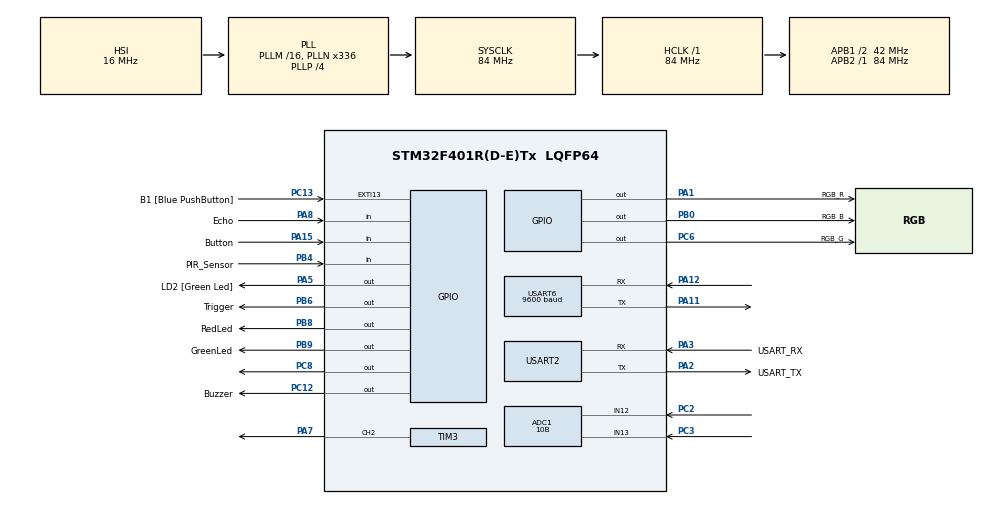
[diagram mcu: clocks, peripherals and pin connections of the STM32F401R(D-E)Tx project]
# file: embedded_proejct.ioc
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ADC1.Channel-0\#ChannelRegularConversion=ADC_CHANNEL_12
ADC1.Channel-1\#ChannelRegularConversion=ADC_CHANNEL_13
ADC1.ContinuousConvMode=DISABLE
ADC1.DMAContinuousRequests=DISABLE
ADC1.NbrOfConversion=2
ADC1.NbrOfConversionFlag=1
ADC1.Rank-0\#ChannelRegularConversion=1
ADC1.Rank-1\#ChannelRegularConversion=2
ADC1.Resolution=ADC_RESOLUTION_10B
ADC1.SamplingTime-0\#ChannelRegularConversion=ADC_SAMPLETIME_28CYCLES
ADC1.SamplingTime-1\#ChannelRegularConversion=ADC_SAMPLETIME_28CYCLES
ADC1.ScanConvMode=ENABLE
ADC1.master=1
Dma.ADC1.0.Direction=DMA_PERIPH_TO_MEMORY
Dma.ADC1.0.FIFOMode=DMA_FIFOMODE_DISABLE
Dma.ADC1.0.Instance=DMA2_Stream0
Dma.ADC1.0.MemDataAlignment=DMA_MDATAALIGN_WORD
Dma.ADC1.0.MemInc=DMA_MINC_ENABLE
Dma.ADC1.0.Mode=DMA_CIRCULAR
Dma.ADC1.0.PeriphDataAlignment=DMA_PDATAALIGN_WORD
Dma.ADC1.0.PeriphInc=DMA_PINC_DISABLE
Dma.ADC1.0.Priority=DMA_PRIORITY_LOW
Dma.Request0=ADC1
Mcu.Family=STM32F4
Mcu.Name=STM32F401R(D-E)Tx
Mcu.Package=LQFP64
NVIC.DMA2_Stream0_IRQn=true\:0\:0\:false\:false\:true\:false\:true\:true
NVIC.PriorityGroup=NVIC_PRIORITYGROUP_0
NVIC.USART2_IRQn=true\:0\:0\:false\:false\:true\:true\:true\:true
NVIC.USART6_IRQn=true\:0\:0\:false\:false\:true\:true\:true\:true
PA1.GPIO_Label=RGB_R
PA1.Signal=GPIO_Output
PA11.Mode=Asynchronous
PA11.Signal=USART6_TX
PA12.Mode=Asynchronous
PA12.Signal=USART6_RX
PA13.GPIO_Label=TMS
PA13.Mode=Serial_Wire
PA13.Signal=SYS_JTMS-SWDIO
PA14.GPIO_Label=TCK
PA14.Mode=Serial_Wire
PA14.Signal=SYS_JTCK-SWCLK
PA15.GPIO_Label=Button
PA15.GPIO_PuPd=GPIO_PULLUP
PA15.Signal=GPIO_Input
PA2.GPIO_Label=USART_TX
PA2.GPIO_Mode=GPIO_MODE_AF_PP
PA2.GPIO_PuPd=GPIO_NOPULL
PA2.GPIO_Speed=GPIO_SPEED_FREQ_LOW
PA2.Mode=Asynchronous
PA2.Signal=USART2_TX
PA3.GPIO_Label=USART_RX
PA3.GPIO_Mode=GPIO_MODE_AF_PP
PA3.GPIO_PuPd=GPIO_NOPULL
PA3.GPIO_Speed=GPIO_SPEED_FREQ_LOW
PA3.Mode=Asynchronous
PA3.Signal=USART2_RX
PA5.GPIO_Label=LD2 [Green Led]
PA5.GPIO_Mode=GPIO_MODE_OUTPUT_PP
PA5.GPIO_PuPd=GPIO_NOPULL
PA5.GPIO_Speed=GPIO_SPEED_FREQ_LOW
PA5.Signal=GPIO_Output
PA7.Signal=S_TIM3_CH2
PA8.GPIO_Label=Echo
PA8.Signal=GPIO_Input
PB0.GPIO_Label=RGB_B
PB0.Signal=GPIO_Output
PB3.GPIO_Label=SWO
PB3.Signal=SYS_JTDO-SWO
PB4.GPIO_Label=PIR_Sensor
PB4.Signal=GPIO_Input
PB6.GPIO_Label=Trigger
PB6.Signal=GPIO_Output
PB8.GPIO_Label=RedLed
PB8.Signal=GPIO_Output
PB9.GPIO_Label=GreenLed
PB9.Signal=GPIO_Output
PC12.GPIO_Label=Buzzer
PC12.Signal=GPIO_Output
PC13-ANTI_TAMP.GPIO_Label=B1 [Blue PushButton]
PC13-ANTI_TAMP.GPIO_ModeDefaultEXTI=GPIO_MODE_IT_FALLING
PC13-ANTI_TAMP.GPIO_PuPd=GPIO_NOPULL
PC13-ANTI_TAMP.Signal=GPXTI13
PC14-OSC32_IN.Mode=LSE-External-Oscillator
PC14-OSC32_IN.Signal=RCC_OSC32_IN
PC15-OSC32_OUT.Mode=LSE-External-Oscillator
PC15-OSC32_OUT.Signal=RCC_OSC32_OUT
PC2.Signal=ADCx_IN12
PC3.Signal=ADCx_IN13
PC6.GPIO_Label=RGB_G
PC6.Signal=GPIO_Output
PC8.Signal=GPIO_Output
PH0\ -\ OSC_IN.Mode=HSE-External-Clock-Source
PH0\ -\ OSC_IN.Signal=RCC_OSC_IN
PH1\ -\ OSC_OUT.Mode=HSE-External-Clock-Source
PH1\ -\ OSC_OUT.Signal=RCC_OSC_OUT
ProjectManager.HeapSize=0x200
ProjectManager.StackSize=0x400
ProjectManager.TargetToolchain=STM32CubeIDE
RCC.48MHZClocksFreq_Value=48000000
RCC.AHBFreq_Value=84000000
RCC.APB1CLKDivider=RCC_HCLK_DIV2
RCC.APB1Freq_Value=42000000
RCC.APB1TimFreq_Value=84000000
RCC.APB2Freq_Value=84000000
RCC.APB2TimFreq_Value=84000000
RCC.CortexFreq_Value=84000000
RCC.HCLKFreq_Value=84000000
RCC.HSE_VALUE=8000000
RCC.HSI_VALUE=16000000
RCC.PLLN=336
RCC.PLLP=RCC_PLLP_DIV4
RCC.PLLQ=7
RCC.SYSCLKFreq_VALUE=84000000
RCC.SYSCLKSource=RCC_SYSCLKSOURCE_PLLCLK
RCC.VCOOutputFreq_Value=336000000
SH.ADCx_IN12.0=ADC1_IN12,IN12
SH.ADCx_IN13.0=ADC1_IN13,IN13
SH.S_TIM3_CH2.0=TIM3_CH2,PWM Generation2 CH2
TIM1.Prescaler=71
TIM3.Channel-PWM\ Generation2\ CH2=TIM_CHANNEL_2
TIM3.Period=1000
TIM3.Prescaler=840
TIM3.Pulse-PWM\ Generation2\ CH2=200
USART2.VirtualMode=VM_ASYNC
USART6.BaudRate=9600
USART6.VirtualMode=VM_ASYNC
VP_TIM1_VS_ClockSourceINT.Mode=Internal
board=NUCLEO-F401RE

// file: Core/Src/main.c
/* USER CODE BEGIN Header */
/**
  ******************************************************************************
  * @file           : main.c
  * @brief          : Main program body
  ******************************************************************************
  * @attention
  *
  * Copyright (c) 2023 STMicroelectronics.
  * All rights reserved.
  *
  * This software is licensed under terms that can be found in the LICENSE file
  * in the root directory of this software component.
  * If no LICENSE file comes with this software, it is provided AS-IS.
  *
  ******************************************************************************
  */
/* USER CODE END Header */
#include "main.h"

ADC_HandleTypeDef hadc1;
DMA_HandleTypeDef hdma_adc1;

TIM_HandleTypeDef htim1;
TIM_HandleTypeDef htim3;

UART_HandleTypeDef huart2;
UART_HandleTypeDef huart6;

void SystemClock_Config(void);
static void MX_GPIO_Init(void);
static void MX_DMA_Init(void);
static void MX_USART2_UART_Init(void);
static void MX_ADC1_Init(void);
static void MX_USART6_UART_Init(void);
static void MX_TIM1_Init(void);
static void MX_TIM3_Init(void);

/* USER CODE BEGIN 0 */

/* uart variable */
#ifdef __GNUC__
#define PUTCHAR_PROTOTYPE int __io_putchar(int ch)
#else
#define PUTCHAR_PROTOTYPE int fputc(int ch, FILE *f)
#endif
PUTCHAR_PROTOTYPE
{
	HAL_UART_Transmit(&huart2, (uint8_t *)&ch, 1, 0xFFFF);
	return ch;
}

/* ultra sonic variable */
#define TRIG_PIN GPIO_PIN_6
#define TRIG_PORT GPIOB
#define ECHO_PIN GPIO_PIN_8
#define ECHO_PORT GPIOA

uint32_t pMillis;
uint32_t Value1 = 0;
uint32_t Value2 = 0;
uint16_t Distance  = 0;
int cnt = 0;

/* pir sensor variable variable */
int Pir_value = 0;

/* button variable */
int button_state = 0;
int state = 0;
int last_button_state = 1;

/* bluetooth and serial */
uint8_t rx6_data;
uint8_t rx2_data;

/* joystick */
uint32_t joy_value[2];

/* USER CODE END 0 */

void HAL_UART_RxCpltCallback(UART_HandleTypeDef *huart) {

	if(rx6_data == 111) {
		HAL_GPIO_WritePin(GPIOC, GPIO_PIN_8, 1);
		htim3.Instance->CCR2 = 200;
		for(int i=0; i<10000000; i++){
		}
	}
	else if(rx6_data == 99) {
		HAL_GPIO_WritePin(GPIOC, GPIO_PIN_8, 0);
		htim3.Instance->CCR2 = 200;
		for(int i=0; i<10000000; i++){
		}
	}
	HAL_UART_Receive_IT(&huart6, &rx6_data, 1);

}

int main(void)
{

  /* MCU Configuration--------------------------------------------------------*/

  /* Reset of all peripherals, Initializes the Flash interface and the Systick. */
  HAL_Init();

  /* Configure the system clock */
  SystemClock_Config();

  /* Initialize all configured peripherals */
  MX_GPIO_Init();
  MX_DMA_Init();
  MX_USART2_UART_Init();
  MX_ADC1_Init();
  MX_USART6_UART_Init();
  MX_TIM1_Init();
  MX_TIM3_Init();
  /* USER CODE BEGIN 2 */

  HAL_TIM_Base_Start(&htim1);
  HAL_GPIO_WritePin(TRIG_PORT, TRIG_PIN, GPIO_PIN_RESET);
  HAL_UART_Receive_IT(&huart6, &rx6_data,1);
  HAL_UART_Receive_IT(&huart2, &rx2_data,1);
  HAL_TIM_PWM_Start(&htim3, TIM_CHANNEL_2);
  htim3.Instance->CCR2 = 0;
  /* USER CODE END 2 */

  /* Infinite loop */
  /* USER CODE BEGIN WHILE */
  while (1)
  {
	HAL_ADC_Start(&hadc1);
	HAL_ADC_PollForConversion(&hadc1, 10);
	joy_value[0] = HAL_ADC_GetValue(&hadc1);
	HAL_ADC_Start(&hadc1);
	HAL_ADC_PollForConversion(&hadc1, 10);
	joy_value[1] = HAL_ADC_GetValue(&hadc1);
	HAL_ADC_Stop(&hadc1);

	/* joy stick */

	if(joy_value[1] < 10) {
		if(state%2 == 0) {
			HAL_GPIO_WritePin(GPIOC, GPIO_PIN_8, 1);
			htim3.Instance->CCR2 = 200;
		}
	}

	if(joy_value[1] > 900) {
		if(state%2 == 0) {
			HAL_GPIO_WritePin(GPIOC, GPIO_PIN_8, 0);
			htim3.Instance->CCR2 = 200;
		}
	}

	if (joy_value[0]>450 && joy_value[0]<550 && joy_value[1]>400 && joy_value[1]<600){
		htim3.Instance->CCR2 = 0;
	}

	/* ultra sonic to buzzer */
	HAL_GPIO_WritePin(TRIG_PORT, TRIG_PIN, GPIO_PIN_SET);  // TRIG_PORT와 TRIG_PIN에 해당하는 GPIO 핀을 활성화하여 출력 모드로 설정하고, 해당 핀을 HIGH 레벨로 설정
	__HAL_TIM_SET_COUNTER(&htim1, 0);  // 타이머 1의 카운터 값을 0으로 설정
	while (__HAL_TIM_GET_COUNTER (&htim1) < 10);
	HAL_GPIO_WritePin(TRIG_PORT, TRIG_PIN, GPIO_PIN_RESET);
	pMillis = HAL_GetTick();
	while (!(HAL_GPIO_ReadPin (ECHO_PORT, ECHO_PIN)) && pMillis + 10 >  HAL_GetTick());
	Value1 = __HAL_TIM_GET_COUNTER (&htim1);
	pMillis = HAL_GetTick();
	while ((HAL_GPIO_ReadPin (ECHO_PORT, ECHO_PIN)) && pMillis + 50 > HAL_GetTick());
	Value2 = __HAL_TIM_GET_COUNTER (&htim1);
	Distance = (Value2-Value1)* 0.034/2;
	HAL_GPIO_WritePin(GPIOA, GPIO_PIN_1, RESET);
	HAL_GPIO_WritePin(GPIOC, GPIO_PIN_6, SET);
	HAL_GPIO_WritePin(GPIOB, GPIO_PIN_0, RESET);
	if(state%2 == 1){
		HAL_GPIO_WritePin(GPIOA, GPIO_PIN_1, RESET);
		HAL_GPIO_WritePin(GPIOC, GPIO_PIN_6, RESET);
		HAL_GPIO_WritePin(GPIOB, GPIO_PIN_0, RESET);
	}
	printf("%d\r\n", Distance);
	if (Distance < 10) //거리가 10cm이하일 떄
	{

		HAL_GPIO_WritePin(GPIOA, GPIO_PIN_1, SET);
		HAL_GPIO_WritePin(GPIOC, GPIO_PIN_6, RESET);
		if(state%2 == 1)
		{
			HAL_GPIO_WritePin(GPIOA, GPIO_PIN_1, RESET);
			HAL_GPIO_WritePin(GPIOC, GPIO_PIN_6, RESET);
		}
		while(cnt < 200) //약 1초동안 부저 울림
		{
			cnt++;
			if(state%2 == 0) {
				HAL_GPIO_WritePin(GPIOC, GPIO_PIN_12, SET);
				HAL_Delay(1);
				HAL_GPIO_WritePin(GPIOC, GPIO_PIN_12, RESET);
				HAL_Delay(1);
			}
		}
	}
	cnt = 0;

	/* pir sensor to led */
	Pir_value = HAL_GPIO_ReadPin(GPIOB, GPIO_PIN_4);

	if(Pir_value == 1) {
		HAL_GPIO_WritePin(GPIOB, GPIO_PIN_8, SET);
		HAL_GPIO_WritePin(GPIOB, GPIO_PIN_9, RESET);
		if(state%2 == 1) {
			HAL_GPIO_WritePin(GPIOB, GPIO_PIN_8, RESET);
			HAL_GPIO_WritePin(GPIOB, GPIO_PIN_9, RESET);
		}
	}
	else {
		HAL_GPIO_WritePin(GPIOB, GPIO_PIN_8, RESET);
		HAL_GPIO_WritePin(GPIOB, GPIO_PIN_9, SET);
		if(state%2 == 1) {
			HAL_GPIO_WritePin(GPIOB, GPIO_PIN_8, RESET);
			HAL_GPIO_WritePin(GPIOB, GPIO_PIN_9, RESET);
		}
	}

	/* button to control system */
	button_state = HAL_GPIO_ReadPin(GPIOA, GPIO_PIN_15);
	if(last_button_state == 1 && button_state == 0) {
		state++;
	}
	last_button_state = button_state;

  }
  /* USER CODE END 3 */
}

void SystemClock_Config(void)
{
  RCC_OscInitTypeDef RCC_OscInitStruct = {0};
  RCC_ClkInitTypeDef RCC_ClkInitStruct = {0};

  /** Configure the main internal regulator output voltage
  */
  __HAL_RCC_PWR_CLK_ENABLE();
  __HAL_PWR_VOLTAGESCALING_CONFIG(PWR_REGULATOR_VOLTAGE_SCALE2);

  /** Initializes the RCC Oscillators according to the specified parameters
  * in the RCC_OscInitTypeDef structure.
  */
  RCC_OscInitStruct.OscillatorType = RCC_OSCILLATORTYPE_HSI;
  RCC_OscInitStruct.HSIState = RCC_HSI_ON;
  RCC_OscInitStruct.HSICalibrationValue = RCC_HSICALIBRATION_DEFAULT;
  RCC_OscInitStruct.PLL.PLLState = RCC_PLL_ON;
  RCC_OscInitStruct.PLL.PLLSource = RCC_PLLSOURCE_HSI;
  RCC_OscInitStruct.PLL.PLLM = 16;
  RCC_OscInitStruct.PLL.PLLN = 336;
  RCC_OscInitStruct.PLL.PLLP = RCC_PLLP_DIV4;
  RCC_OscInitStruct.PLL.PLLQ = 7;
  if (HAL_RCC_OscConfig(&RCC_OscInitStruct) != HAL_OK)
  {
    Error_Handler();
  }

  /** Initializes the CPU, AHB and APB buses clocks
  */
  RCC_ClkInitStruct.ClockType = RCC_CLOCKTYPE_HCLK|RCC_CLOCKTYPE_SYSCLK
                              |RCC_CLOCKTYPE_PCLK1|RCC_CLOCKTYPE_PCLK2;
  RCC_ClkInitStruct.SYSCLKSource = RCC_SYSCLKSOURCE_PLLCLK;
  RCC_ClkInitStruct.AHBCLKDivider = RCC_SYSCLK_DIV1;
  RCC_ClkInitStruct.APB1CLKDivider = RCC_HCLK_DIV2;
  RCC_ClkInitStruct.APB2CLKDivider = RCC_HCLK_DIV1;

  if (HAL_RCC_ClockConfig(&RCC_ClkInitStruct, FLASH_LATENCY_2) != HAL_OK)
  {
    Error_Handler();
  }
}

static void MX_ADC1_Init(void)
{

  ADC_ChannelConfTypeDef sConfig = {0};

  /** Configure the global features of the ADC (Clock, Resolution, Data Alignment and number of conversion)
  */
  hadc1.Instance = ADC1;
  hadc1.Init.ClockPrescaler = ADC_CLOCK_SYNC_PCLK_DIV4;
  hadc1.Init.Resolution = ADC_RESOLUTION_10B;
  hadc1.Init.ScanConvMode = ENABLE;
  hadc1.Init.ContinuousConvMode = DISABLE;
  hadc1.Init.DiscontinuousConvMode = DISABLE;
  hadc1.Init.ExternalTrigConvEdge = ADC_EXTERNALTRIGCONVEDGE_NONE;
  hadc1.Init.ExternalTrigConv = ADC_SOFTWARE_START;
  hadc1.Init.DataAlign = ADC_DATAALIGN_RIGHT;
  hadc1.Init.NbrOfConversion = 2;
  hadc1.Init.DMAContinuousRequests = DISABLE;
  hadc1.Init.EOCSelection = ADC_EOC_SINGLE_CONV;
  if (HAL_ADC_Init(&hadc1) != HAL_OK)
  {
    Error_Handler();
  }

  /** Configure for the selected ADC regular channel its corresponding rank in the sequencer and its sample time.
  */
  sConfig.Channel = ADC_CHANNEL_12;
  sConfig.Rank = 1;
  sConfig.SamplingTime = ADC_SAMPLETIME_28CYCLES;
  if (HAL_ADC_ConfigChannel(&hadc1, &sConfig) != HAL_OK)
  {
    Error_Handler();
  }

  /** Configure for the selected ADC regular channel its corresponding rank in the sequencer and its sample time.
  */
  sConfig.Channel = ADC_CHANNEL_13;
  sConfig.Rank = 2;
  if (HAL_ADC_ConfigChannel(&hadc1, &sConfig) != HAL_OK)
  {
    Error_Handler();
  }

}

static void MX_TIM1_Init(void)
{

  TIM_ClockConfigTypeDef sClockSourceConfig = {0};
  TIM_MasterConfigTypeDef sMasterConfig = {0};

  htim1.Instance = TIM1;
  htim1.Init.Prescaler = 71;
  htim1.Init.CounterMode = TIM_COUNTERMODE_UP;
  htim1.Init.Period = 65535;
  htim1.Init.ClockDivision = TIM_CLOCKDIVISION_DIV1;
  htim1.Init.RepetitionCounter = 0;
  htim1.Init.AutoReloadPreload = TIM_AUTORELOAD_PRELOAD_DISABLE;
  if (HAL_TIM_Base_Init(&htim1) != HAL_OK)
  {
    Error_Handler();
  }
  sClockSourceConfig.ClockSource = TIM_CLOCKSOURCE_INTERNAL;
  if (HAL_TIM_ConfigClockSource(&htim1, &sClockSourceConfig) != HAL_OK)
  {
    Error_Handler();
  }
  sMasterConfig.MasterOutputTrigger = TIM_TRGO_RESET;
  sMasterConfig.MasterSlaveMode = TIM_MASTERSLAVEMODE_DISABLE;
  if (HAL_TIMEx_MasterConfigSynchronization(&htim1, &sMasterConfig) != HAL_OK)
  {
    Error_Handler();
  }

}

static void MX_TIM3_Init(void)
{

  TIM_MasterConfigTypeDef sMasterConfig = {0};
  TIM_OC_InitTypeDef sConfigOC = {0};

  htim3.Instance = TIM3;
  htim3.Init.Prescaler = 840;
  htim3.Init.CounterMode = TIM_COUNTERMODE_UP;
  htim3.Init.Period = 1000;
  htim3.Init.ClockDivision = TIM_CLOCKDIVISION_DIV1;
  htim3.Init.AutoReloadPreload = TIM_AUTORELOAD_PRELOAD_DISABLE;
  if (HAL_TIM_PWM_Init(&htim3) != HAL_OK)
  {
    Error_Handler();
  }
  sMasterConfig.MasterOutputTrigger = TIM_TRGO_RESET;
  sMasterConfig.MasterSlaveMode = TIM_MASTERSLAVEMODE_DISABLE;
  if (HAL_TIMEx_MasterConfigSynchronization(&htim3, &sMasterConfig) != HAL_OK)
  {
    Error_Handler();
  }
  sConfigOC.OCMode = TIM_OCMODE_PWM1;
  sConfigOC.Pulse = 200;
  sConfigOC.OCPolarity = TIM_OCPOLARITY_HIGH;
  sConfigOC.OCFastMode = TIM_OCFAST_DISABLE;
  if (HAL_TIM_PWM_ConfigChannel(&htim3, &sConfigOC, TIM_CHANNEL_2) != HAL_OK)
  {
    Error_Handler();
  }
  HAL_TIM_MspPostInit(&htim3);

}

static void MX_USART2_UART_Init(void)
{

  huart2.Instance = USART2;
  huart2.Init.BaudRate = 115200;
  huart2.Init.WordLength = UART_WORDLENGTH_8B;
  huart2.Init.StopBits = UART_STOPBITS_1;
  huart2.Init.Parity = UART_PARITY_NONE;
  huart2.Init.Mode = UART_MODE_TX_RX;
  huart2.Init.HwFlowCtl = UART_HWCONTROL_NONE;
  huart2.Init.OverSampling = UART_OVERSAMPLING_16;
  if (HAL_UART_Init(&huart2) != HAL_OK)
  {
    Error_Handler();
  }

}

static void MX_USART6_UART_Init(void)
{

  huart6.Instance = USART6;
  huart6.Init.BaudRate = 9600;
  huart6.Init.WordLength = UART_WORDLENGTH_8B;
  huart6.Init.StopBits = UART_STOPBITS_1;
  huart6.Init.Parity = UART_PARITY_NONE;
  huart6.Init.Mode = UART_MODE_TX_RX;
  huart6.Init.HwFlowCtl = UART_HWCONTROL_NONE;
  huart6.Init.OverSampling = UART_OVERSAMPLING_16;
  if (HAL_UART_Init(&huart6) != HAL_OK)
  {
    Error_Handler();
  }

}

static void MX_DMA_Init(void)
{

  /* DMA controller clock enable */
  __HAL_RCC_DMA2_CLK_ENABLE();

  /* DMA interrupt init */
  /* DMA2_Stream0_IRQn interrupt configuration */
  HAL_NVIC_SetPriority(DMA2_Stream0_IRQn, 0, 0);
  HAL_NVIC_EnableIRQ(DMA2_Stream0_IRQn);

}

static void MX_GPIO_Init(void)
{
  GPIO_InitTypeDef GPIO_InitStruct = {0};

  /* GPIO Ports Clock Enable */
  __HAL_RCC_GPIOC_CLK_ENABLE();
  __HAL_RCC_GPIOH_CLK_ENABLE();
  __HAL_RCC_GPIOA_CLK_ENABLE();
  __HAL_RCC_GPIOB_CLK_ENABLE();

  /*Configure GPIO pin Output Level */
  HAL_GPIO_WritePin(GPIOA, RGB_R_Pin|LD2_Pin, GPIO_PIN_RESET);

  /*Configure GPIO pin Output Level */
  HAL_GPIO_WritePin(GPIOB, RGB_B_Pin|Trigger_Pin|RedLed_Pin|GreenLed_Pin, GPIO_PIN_RESET);

  /*Configure GPIO pin Output Level */
  HAL_GPIO_WritePin(GPIOC, RGB_G_Pin|GPIO_PIN_8|Buzzer_Pin, GPIO_PIN_RESET);

  /*Configure GPIO pin : B1_Pin */
  GPIO_InitStruct.Pin = B1_Pin;
  GPIO_InitStruct.Mode = GPIO_MODE_IT_FALLING;
  GPIO_InitStruct.Pull = GPIO_NOPULL;
  HAL_GPIO_Init(B1_GPIO_Port, &GPIO_InitStruct);

  /*Configure GPIO pins : RGB_R_Pin LD2_Pin */
  GPIO_InitStruct.Pin = RGB_R_Pin|LD2_Pin;
  GPIO_InitStruct.Mode = GPIO_MODE_OUTPUT_PP;
  GPIO_InitStruct.Pull = GPIO_NOPULL;
  GPIO_InitStruct.Speed = GPIO_SPEED_FREQ_LOW;
  HAL_GPIO_Init(GPIOA, &GPIO_InitStruct);

  /*Configure GPIO pins : RGB_B_Pin Trigger_Pin RedLed_Pin GreenLed_Pin */
  GPIO_InitStruct.Pin = RGB_B_Pin|Trigger_Pin|RedLed_Pin|GreenLed_Pin;
  GPIO_InitStruct.Mode = GPIO_MODE_OUTPUT_PP;
  GPIO_InitStruct.Pull = GPIO_NOPULL;
  GPIO_InitStruct.Speed = GPIO_SPEED_FREQ_LOW;
  HAL_GPIO_Init(GPIOB, &GPIO_InitStruct);

  /*Configure GPIO pins : RGB_G_Pin PC8 Buzzer_Pin */
  GPIO_InitStruct.Pin = RGB_G_Pin|GPIO_PIN_8|Buzzer_Pin;
  GPIO_InitStruct.Mode = GPIO_MODE_OUTPUT_PP;
  GPIO_InitStruct.Pull = GPIO_NOPULL;
  GPIO_InitStruct.Speed = GPIO_SPEED_FREQ_LOW;
  HAL_GPIO_Init(GPIOC, &GPIO_InitStruct);

  /*Configure GPIO pin : Echo_Pin */
  GPIO_InitStruct.Pin = Echo_Pin;
  GPIO_InitStruct.Mode = GPIO_MODE_INPUT;
  GPIO_InitStruct.Pull = GPIO_NOPULL;
  HAL_GPIO_Init(Echo_GPIO_Port, &GPIO_InitStruct);

  /*Configure GPIO pin : Button_Pin */
  GPIO_InitStruct.Pin = Button_Pin;
  GPIO_InitStruct.Mode = GPIO_MODE_INPUT;
  GPIO_InitStruct.Pull = GPIO_PULLUP;
  HAL_GPIO_Init(Button_GPIO_Port, &GPIO_InitStruct);

  /*Configure GPIO pin : PIR_Sensor_Pin */
  GPIO_InitStruct.Pin = PIR_Sensor_Pin;
  GPIO_InitStruct.Mode = GPIO_MODE_INPUT;
  GPIO_InitStruct.Pull = GPIO_NOPULL;
  HAL_GPIO_Init(PIR_Sensor_GPIO_Port, &GPIO_InitStruct);

}

void Error_Handler(void)
{
  __disable_irq();
  while (1)
  {
  }
}
